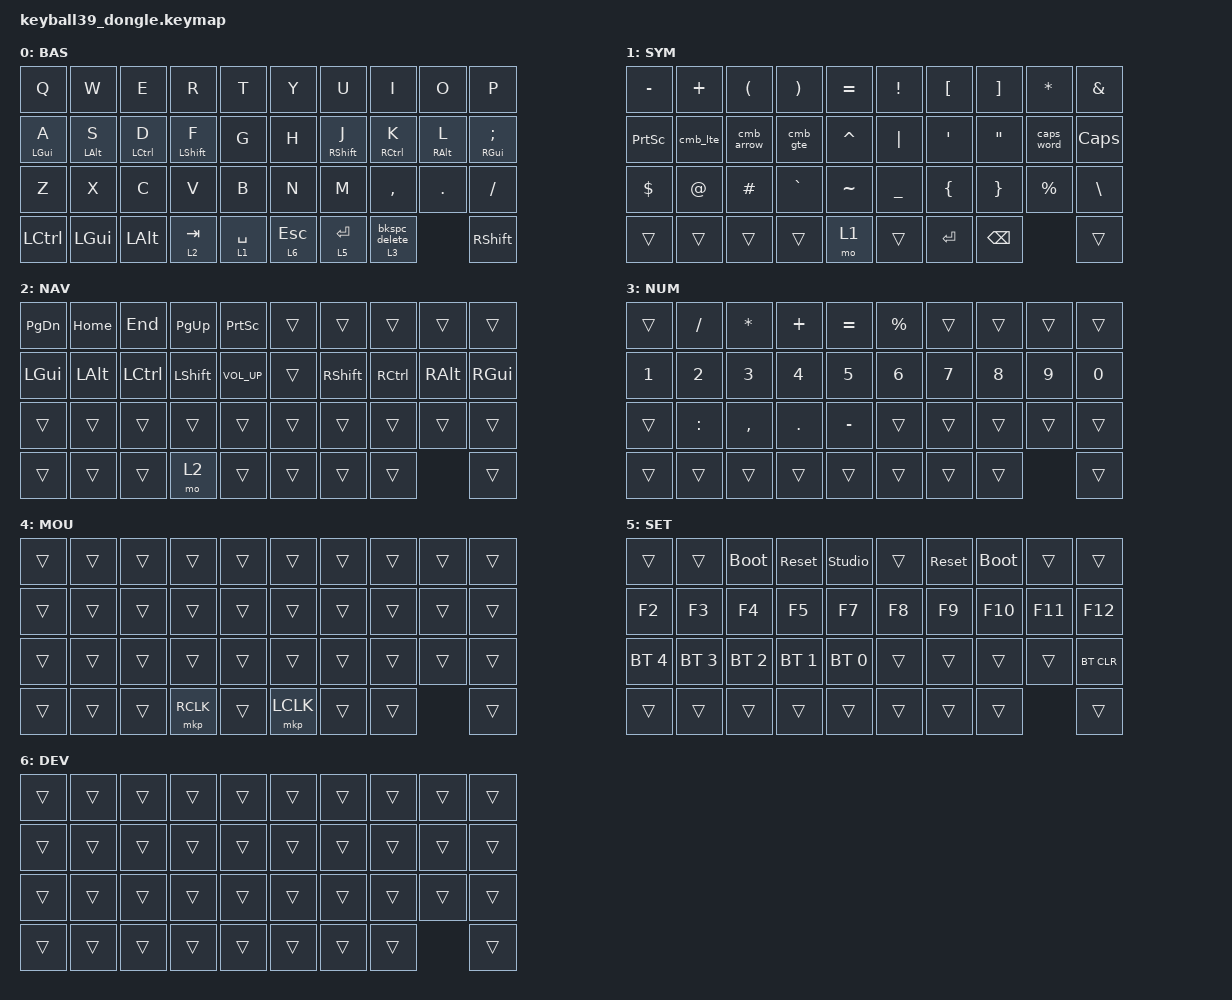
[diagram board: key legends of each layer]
#include <dt-bindings/zmk/mouse.h>
#include <behaviors/mouse_keys.dtsi>
#include <behaviors.dtsi>
#include <dt-bindings/zmk/bt.h>
#include <dt-bindings/zmk/keys.h>
#include <dt-bindings/zmk/pointing.h>

/* INPUT_REL_HWHEEL may be missing from older pointing.h — define defensively */
#ifndef INPUT_REL_HWHEEL
#define INPUT_REL_HWHEEL 0x06
#endif

&lt {
    tapping-term-ms = <150>;
    quick-tap-ms = <100>;
    require-prior-idle-ms = <75>;
    flavor = "balanced";
};

/ {
    /* input config for mouse move mode */

    trackball_listener {
        compatible = "zmk,input-behavior-listener";
        device = <&vtrackball>;
        layers = <0 4>;
        evt-type = <INPUT_EV_REL>;
        x-input-code = <INPUT_REL_X>;
        y-input-code = <INPUT_REL_Y>;
        scale-multiplier = <1>;
        scale-divisor = <6>;

        bindings = <&ib_toggle_layer 4>;
    };

    /* input config for mouse scroll mode — axis-locked (one tick = one axis) */

    trackball_scroll_listener {
        compatible = "zmk,input-behavior-listener";
        device = <&vtrackball>;
        layers = <1>;
        evt-type = <INPUT_EV_REL>;
        x-input-code = <INPUT_REL_HWHEEL>;
        y-input-code = <INPUT_REL_WHEEL>;
        /* raw counts: no scale-divisor; `tick` is the only sensitivity knob */
        bindings = <&ib_scroll_axis_lock>;
    };

    trackball_arrow_listener {
        compatible = "zmk,input-behavior-listener";
        device = <&vtrackball>;
        layers = <2>; // Працює тільки на шарі 2
        evt-type = <INPUT_EV_REL>;
        x-input-code = <INPUT_REL_X>;
        y-input-code = <INPUT_REL_Y>;
        scale-multiplier = <1>;
        scale-divisor = <1>;
        bindings = <&ib_arrow_nav>; // Використовуємо наш новий behavior
    };

    /* trackball window/desktop gestures on DEV layer (6): flick the ball to
       switch desktops / toggle Overview & Grid (cloned from Charybdis) */

    trackball_gesture_listener {
        compatible = "zmk,input-behavior-listener";
        device = <&vtrackball>;
        layers = <6>;
        evt-type = <INPUT_EV_REL>;
        x-input-code = <INPUT_REL_X>;
        y-input-code = <INPUT_REL_Y>;
        bindings = <&ib_gesture_nav>;
    };

    /* axis-locked scroll: accumulate raw counts, emit one tick on the
       dominant axis only (vertical priority), reset both accumulators */

    ib_scroll_axis_lock: ib_scroll_axis_lock {
        compatible = "zmk,input-behavior-scroll-axis-lock";
        #binding-cells = <0>;
        tick = <100>;
        lockout-ms = <250>;
    };

    /* adjust cooldown waiting period for mouse key layer after activated */

    ib_toggle_layer: ib_toggle_layer {
        compatible = "zmk,input-behavior-tog-layer";
        #binding-cells = <1>;
        time-to-live-ms = <500>;
    };

    ib_arrow_nav: ib_arrow_nav {
        compatible = "zmk,input-behavior-move-to-keypress";
        #binding-cells = <0>;
        threshold = <250>;
        x-threshold = < 200>;
        y-threshold = <300>;
        rate-limit-ms = <15>;
        reset-other-axis;
        bindings = <&kp RIGHT>, <&kp LEFT>, <&kp UP>, <&kp DOWN>;
    };

    /* KDE gestures: left/right = switch desktop, up = Overview, down = Grid */
    ib_gesture_nav: ib_gesture_nav {
        compatible = "zmk,input-behavior-move-to-keypress";
        #binding-cells = <0>;
        threshold = <300>;
        rate-limit-ms = <150>;
        reset-other-axis;
        bindings = <&kp LG(LC(RIGHT))>, <&kp LG(LC(LEFT))>, <&kp LG(W)>, <&kp LG(G)>;
    };

    // ╭──────┬──────┬──────┬──────┬──────╮  ╭──────┬──────┬──────┬──────┬──────╮
    //    00     01     02     03    04        05     06     07     08     09
    // ├──────┼──────┼──────┼──────┼──────┤  ├──────┼──────┼──────┼──────┼──────┤
    //    10     11     12     13    14        15     16     17     18     19
    // ├──────┼──────┼──────┼──────┼──────┤  ├──────┼──────┼──────┼──────┼──────┤
    //    20     21     22     23    24        25     26     27     28     29
    // ╰──────┴──────┼──────┼──────┼──────┤  ├──────┼──────┼──────┴──────┴──────╯
    //   30    31    32    33    34    35        36     37                   38
    // ╰──────┴──────┴──────┴──────┴──────╯  ╰──────┴──────╯              ╰──────╯

    #define BASE    0
    #define NUM     1
    #define NAV     2
    #define CAD     3
    #define MOU     4
    #define SET     5

    /* key-position groups for positional home-row mods (urob "timeless" style).
       Keyball39 is a plain 3x5 + 9-key bottom row (no &none borders). */
    #define KEYS_L 0 1 2 3 4 10 11 12 13 14 20 21 22 23 24
    #define KEYS_R 5 6 7 8 9 15 16 17 18 19 25 26 27 28 29
    #define THUMBS 30 31 32 33 34 35 36 37 38

    behaviors {
        hml: home_row_mod_left {
            compatible = "zmk,behavior-hold-tap";
            label = "HOME_ROW_MOD_LEFT";
            bindings = <&kp>, <&kp>;

            #binding-cells = <2>;
            flavor = "balanced";
            tapping-term-ms = <280>;
            quick-tap-ms = <175>;
            require-prior-idle-ms = <150>;
            hold-trigger-key-positions = <KEYS_R THUMBS>;
            hold-trigger-on-release;
        };

        hmr: home_row_mod_right {
            compatible = "zmk,behavior-hold-tap";
            label = "HOME_ROW_MOD_RIGHT";
            bindings = <&kp>, <&kp>;

            #binding-cells = <2>;
            flavor = "balanced";
            tapping-term-ms = <280>;
            quick-tap-ms = <175>;
            require-prior-idle-ms = <150>;
            hold-trigger-key-positions = <KEYS_L THUMBS>;
            hold-trigger-on-release;
        };

        /* Shift on F/J tuned separately: require-prior-idle removed so fast
           capitals don't force a tap, shorter term. Positional guard stays. */
        hsl: home_shift_left {
            compatible = "zmk,behavior-hold-tap";
            label = "HOME_SHIFT_LEFT";
            bindings = <&kp>, <&kp>;

            #binding-cells = <2>;
            flavor = "balanced";
            tapping-term-ms = <200>;
            quick-tap-ms = <175>;
            require-prior-idle-ms = <0>;
            hold-trigger-key-positions = <KEYS_R THUMBS>;
            hold-trigger-on-release;
        };

        hsr: home_shift_right {
            compatible = "zmk,behavior-hold-tap";
            label = "HOME_SHIFT_RIGHT";
            bindings = <&kp>, <&kp>;

            #binding-cells = <2>;
            flavor = "balanced";
            tapping-term-ms = <200>;
            quick-tap-ms = <175>;
            require-prior-idle-ms = <0>;
            hold-trigger-key-positions = <KEYS_L THUMBS>;
            hold-trigger-on-release;
        };

        bkspc_delete: bkspc_delete {
            compatible = "zmk,behavior-mod-morph";
            label = "BKSPC_DELETE";
            bindings = <&kp BACKSPACE>, <&kp DELETE>;

            #binding-cells = <0>;
            mods = <(MOD_LSFT|MOD_RCTL)>;
            keep-mods = <(MOD_RCTL)>;
        };

        /* tap = Backspace/Delete morph, hold = NUM layer */
        bspc_num: bspc_num {
            compatible = "zmk,behavior-hold-tap";
            label = "BSPC_NUM";
            bindings = <&mo>, <&bkspc_delete>;
            #binding-cells = <2>;
            flavor = "balanced";
            tapping-term-ms = <150>;
            quick-tap-ms = <100>;
            require-prior-idle-ms = <75>;
        };
    };

    macros {
        cmb_lte: cmb_lte {
            compatible = "zmk,behavior-macro";
            #binding-cells = <0>;
            bindings = <&kp LT &kp EQUAL>;
        };
        cmb_gte: cmb_gte {
            compatible = "zmk,behavior-macro";
            #binding-cells = <0>;
            bindings = <&kp GT &kp EQUAL>;
        };
        cmb_arrow: cmb_arrow {
            compatible = "zmk,behavior-macro";
            #binding-cells = <0>;
            bindings = <&kp MINUS &kp GT>;
        };
    };

    keymap {
        compatible = "zmk,keymap";

        BASE {
            display-name = "BAS";
            bindings = <
&kp Q                     &kp W                     &kp E                     &kp R                          &kp T        &kp Y      &kp U                            &kp I                      &kp O                       &kp P
&hml LEFT_GUI A  &hml LEFT_ALT S  &hml LCTRL D  &hsl LEFT_SHIFT F  &kp G        &kp H      &hsr RIGHT_SHIFT J  &hmr RCTRL K  &hmr RIGHT_ALT L  &hmr RIGHT_GUI SEMI
&kp Z                     &kp X                     &kp C                     &kp V                          &kp B        &kp N      &kp M                            &kp COMMA                  &kp DOT                     &kp FSLH
&kp LCTRL  &kp LEFT_GUI  &kp LEFT_ALT              &lt 2 TAB                 &lt 1 SPACE  &lt 6 ESC          &lt 5 RET    &bspc_num 3 0                                                                                      &kp RSHFT
            >;
        };

        SYM {
            display-name = "SYM";
            bindings = <
&kp MINUS   &kp PLUS    &kp LEFT_PARENTHESIS  &kp RIGHT_PARENTHESIS  &kp EQUAL    &kp EXCLAMATION  &kp LEFT_BRACKET  &kp RIGHT_BRACKET  &kp ASTERISK  &kp AMPERSAND
&kp PRINTSCREEN  &cmb_lte    &cmb_arrow            &cmb_gte               &kp CARET    &kp PIPE         &kp SQT           &kp DOUBLE_QUOTES  &caps_word    &kp CAPSLOCK
&kp DOLLAR  &kp AT_SIGN &kp HASH              &kp GRAVE              &kp TILDE    &kp UNDERSCORE   &kp LEFT_BRACE    &kp RIGHT_BRACE    &kp PERCENT   &kp BACKSLASH
&trans      &trans      &trans                &trans                 &mo 1        &trans           &kp ENTER         &kp BSPC                                        &trans
            >;
        };

        NAV {
            display-name = "NAV";
            bindings = <
&kp PAGE_DOWN  &kp HOME      &kp END    &kp PG_UP       &kp PRINTSCREEN    &trans   &trans           &trans     &trans         &trans
&kp LEFT_GUI   &kp LEFT_ALT  &kp LCTRL  &kp LEFT_SHIFT  &kp C_VOLUME_UP    &trans   &kp RIGHT_SHIFT  &kp RCTRL  &kp RIGHT_ALT  &kp RIGHT_GUI
&trans         &trans        &trans     &trans          &trans             &trans   &trans           &trans     &trans         &trans
&trans         &trans        &trans     &mo 2           &trans             &trans   &trans           &trans                                   &trans
            >;
        };

        NUM {
            display-name = "NUM";
            bindings = <
&trans  &kp SLASH  &kp ASTERISK  &kp PLUS  &kp EQUAL    &kp PERCENT  &trans  &trans  &trans  &trans
&kp N1  &kp N2     &kp N3        &kp N4    &kp N5        &kp N6       &kp N7  &kp N8  &kp N9  &kp N0
&trans  &kp COLON  &kp COMMA     &kp DOT   &kp MINUS    &trans       &trans  &trans  &trans  &trans
&trans  &trans     &trans        &trans    &trans       &trans       &trans  &trans                &trans
            >;
        };

        MOU {
            display-name = "MOU";
            bindings = <
&trans  &trans  &trans     &trans  &trans       &trans  &trans  &trans  &trans  &trans
&trans  &trans  &trans     &trans  &trans       &trans  &trans  &trans  &trans  &trans
&trans  &trans  &trans     &trans  &trans       &trans  &trans  &trans  &trans  &trans
&trans  &trans  &trans     &mkp RCLK  &trans   &mkp LCLK  &trans  &trans              &trans
            >;
        };

        SET {
            display-name = "SET";
            bindings = <
&trans      &trans        &bootloader   &sys_reset    &studio_unlock  &trans  &sys_reset  &bootloader  &trans   &trans
&kp F2      &kp F3        &kp F4        &kp F5        &kp F7          &kp F8  &kp F9      &kp F10      &kp F11  &kp F12
&bt BT_SEL 4  &bt BT_SEL 3  &bt BT_SEL 2  &bt BT_SEL 1  &bt BT_SEL 0    &trans  &trans  &trans  &trans  &bt BT_CLR
&trans      &trans        &trans        &trans        &trans          &trans  &trans      &trans                      &trans
            >;
        };

        DEV {
            display-name = "DEV";
            bindings = <
&trans  &trans  &trans  &trans  &trans    &trans  &trans  &trans  &trans  &trans
&trans  &trans  &trans  &trans  &trans    &trans  &trans  &trans  &trans  &trans
&trans  &trans  &trans  &trans  &trans    &trans  &trans  &trans  &trans  &trans
&trans  &trans  &trans  &trans  &trans    &trans  &trans  &trans                &trans
            >;
        };
    };
};
